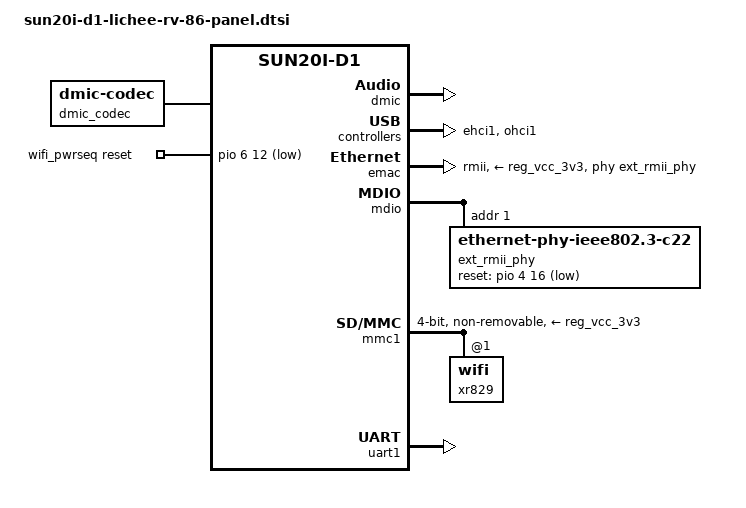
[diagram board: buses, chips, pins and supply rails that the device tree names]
// SPDX-License-Identifier: (GPL-2.0+ OR MIT)
// Copyright (C) 2022 Samuel Holland <samuel@sholland.org>

#include "sun20i-d1-lichee-rv.dts"

/ {
	aliases {
		ethernet0 = &emac;
		ethernet1 = &xr829;
	};

	dmic_codec: dmic-codec {
		compatible = "dmic-codec";
		num-channels = <2>;
		#sound-dai-cells = <0>;
	};

	dmic-sound {
		compatible = "simple-audio-card";
		simple-audio-card,name = "DMIC";
		#address-cells = <1>;
		#size-cells = <0>;

		simple-audio-card,dai-link@0 {
			reg = <0>;
			format = "pdm";
			frame-master = <&link0_cpu>;
			bitclock-master = <&link0_cpu>;

			link0_cpu: cpu {
				sound-dai = <&dmic>;
			};

			link0_codec: codec {
				sound-dai = <&dmic_codec>;
			};
		};
	};

	/* PC1 is repurposed as BT_WAKE_AP */
	/delete-node/ leds;

	wifi_pwrseq: wifi-pwrseq {
		compatible = "mmc-pwrseq-simple";
		clocks = <&ccu CLK_FANOUT1>;
		clock-names = "ext_clock";
		reset-gpios = <&pio 6 12 GPIO_ACTIVE_LOW>; /* PG12 */
		assigned-clocks = <&ccu CLK_FANOUT1>;
		assigned-clock-rates = <32768>;
		pinctrl-0 = <&clk_pg11_pin>;
		pinctrl-names = "default";
	};
};

&dmic {
	pinctrl-0 = <&dmic_pb11_d0_pin>, <&dmic_pe17_clk_pin>;
	pinctrl-names = "default";
	status = "okay";
};

&ehci1 {
	status = "okay";
};

&emac {
	pinctrl-0 = <&rmii_pe_pins>;
	pinctrl-names = "default";
	phy-handle = <&ext_rmii_phy>;
	phy-mode = "rmii";
	phy-supply = <&reg_vcc_3v3>;
	status = "okay";
};

&mdio {
	ext_rmii_phy: ethernet-phy@1 {
		compatible = "ethernet-phy-ieee802.3-c22";
		reg = <1>;
		reset-gpios = <&pio 4 16 GPIO_ACTIVE_LOW>; /* PE16 */
	};
};

&mmc1 {
	bus-width = <4>;
	mmc-pwrseq = <&wifi_pwrseq>;
	non-removable;
	vmmc-supply = <&reg_vcc_3v3>;
	vqmmc-supply = <&reg_vcc_3v3>;
	pinctrl-0 = <&mmc1_pins>;
	pinctrl-names = "default";
	status = "okay";

	xr829: wifi@1 {
		reg = <1>;
	};
};

&ohci1 {
	status = "okay";
};

&uart1 {
	uart-has-rtscts;
	pinctrl-0 = <&uart1_pg6_pins>, <&uart1_pg8_rts_cts_pins>;
	pinctrl-names = "default";
	status = "okay";

	/* XR829 bluetooth is connected here */
};

&usb_otg {
	status = "disabled";
};

&usbphy {
	/* PD20 and PD21 are repurposed for the LCD panel */
	/delete-property/ usb0_id_det-gpios;
	/delete-property/ usb0_vbus_det-gpios;
	usb1_vbus-supply = <&reg_vcc>;
};
